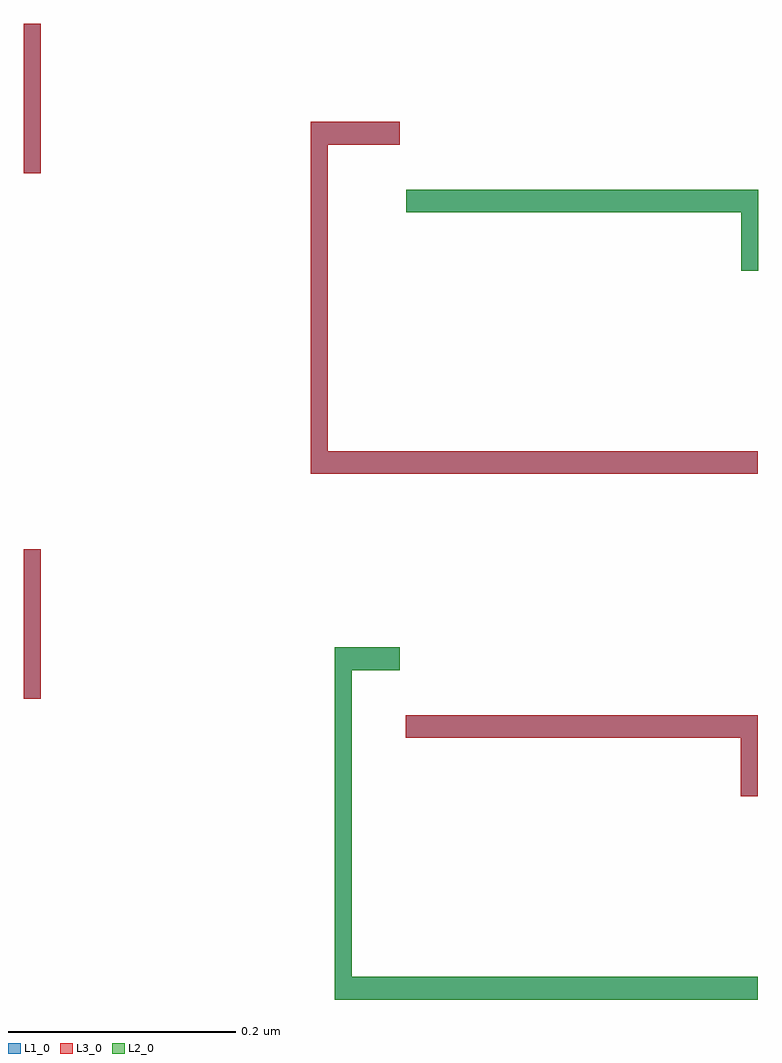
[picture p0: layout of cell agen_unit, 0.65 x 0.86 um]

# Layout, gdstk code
import gdstk
lib = gdstk.Library(unit=1e-6, precision=5e-10)
def R(c, l, rs):  # rectangles x0, y0, x1, y1
    for r in rs: c.add(gdstk.rectangle(r[:2], r[2:], *l))
def P(c, l, *ps):  # polygons
    for p in ps: c.add(gdstk.Polygon(p, *l))
L1_0 = (1, 0)
L2_0 = (2, 0)
L3_0 = (3, 0)

demux = lib.new_cell('Demux')
R(demux, L1_0, [(0.1735,0.0655,0.1885,0.197)])
R(demux, L3_0, [(0.1735,0.0655,0.1885,0.197)])

agen_unit = lib.new_cell('agen_unit')
R(agen_unit, L1_0, [(0.175,0.0025,0.1885,0.024), (0.1755,0.4655,0.1885,0.486)])
P(agen_unit, L1_0, [(0.82,0.341),(0.82,0.2695),(0.805,0.2695),(0.805,0.321),(0.5105,0.321),(0.5105,0.341)],
  [(0.8195,-0.121),(0.8195,-0.1925),(0.8045,-0.1925),(0.8045,-0.141),(0.51,-0.141),(0.51,-0.121)],
  [(0.5045,-0.0615),(0.5045,-0.0815),(0.4625,-0.0815),(0.4625,-0.351),(0.8195,-0.351),(0.8195,-0.371),(0.4475,-0.371),(0.4475,-0.0615)],
  [(0.5045,0.4005),(0.5045,0.3805),(0.4415,0.3805),(0.4415,0.111),(0.8195,0.111),(0.8195,0.091),(0.4265,0.091),(0.4265,0.4005)])
P(agen_unit, L2_0, [(0.82,0.341),(0.82,0.2695),(0.805,0.2695),(0.805,0.321),(0.5105,0.321),(0.5105,0.341)],
  [(0.5045,-0.0615),(0.5045,-0.0815),(0.4625,-0.0815),(0.4625,-0.351),(0.8195,-0.351),(0.8195,-0.371),(0.4475,-0.371),(0.4475,-0.0615)])
P(agen_unit, L3_0, [(0.8195,-0.121),(0.8195,-0.1925),(0.8045,-0.1925),(0.8045,-0.141),(0.51,-0.141),(0.51,-0.121)],
  [(0.5045,0.4005),(0.5045,0.3805),(0.4415,0.3805),(0.4415,0.111),(0.8195,0.111),(0.8195,0.091),(0.4265,0.091),(0.4265,0.4005)])
agen_unit.add(gdstk.Reference(demux, (0.0005,-0.172)))
agen_unit.add(gdstk.Reference(demux, (0.0005,0.29)))

lib.write_gds('agen_unit.gds')
